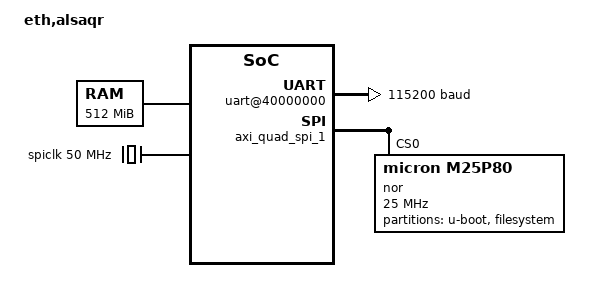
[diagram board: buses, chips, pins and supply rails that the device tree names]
/dts-v1/;
/ {
  #address-cells = <2>;
  #size-cells = <2>;
  compatible = "eth,alsaqr-dev";
  model = "eth,alsaqr";
  config {
    u-boot,spl-payload-offset = <0x6000000>;
  };
  chosen {
    stdout-path = "/soc/uart@40000000:115200";
  };
  memory@80000000 {
    device_type = "memory";
    reg = <0x0 0x80000000 0x0 0x20000000>;
  };
  reserved-memory {
    #address-cells = <2>;
    #size-cells = <2>;
    ranges;
    pulp_mem: buffer@90000000 {
        reg = <0x0 0x90000000 0x0 0x10000000>;
    };
  };
  cpus {
    #address-cells = <1>;
    #size-cells = <0>;
    timebase-frequency = <25000000>;
    CPU0: cpu@0 {
      device_type = "cpu";
      status = "okay";
      compatible = "eth,ariane", "riscv";
      clock-frequency = <50000000>;
      riscv,isa = "rv64fimadch";
      mmu-type = "riscv,sv39";
      tlb-split;
      reg = <0>;
      CPU0_intc: interrupt-controller {
        #interrupt-cells = <1>;
        interrupt-controller;
        compatible = "riscv,cpu-intc";
      };
    };
  };
  soc: soc {
    #address-cells = <2>;
    #size-cells = <2>;
    compatible = "eth,ariane-bare-soc", "simple-bus";
    ranges;
    clint0: clint@2000000 {
      clock-frequency=<25000000>;
      compatible = "riscv,clint0";
      interrupts-extended = <&CPU0_intc 3 &CPU0_intc 7>;
      reg = <0x0 0x2000000 0x0 0xc0000>;
      reg-names = "clint";
    };
    PLIC0: interrupt-controller@c000000 {
      #address-cells = <0>;
      #interrupt-cells = <1>;
      compatible = "sifive,plic-1.0.0","riscv,plic0";
      interrupt-controller;
      interrupts-extended = <&CPU0_intc 11 &CPU0_intc 9>;
      reg = <0x0 0xc000000 0x0 0x4000000>;
      riscv,max-priority = <7>;
      riscv,ndev = <10>;
    };
    uart@40000000 {
      compatible = "ns16550";
      reg = <0x0 0x40000000 0x0 0x1000>;
      clock-frequency = <50000000>;
      current-speed = <115200>;
      interrupt-parent = <&PLIC0>;
      interrupts = <2>;
      reg-shift = <2>; // regs are spaced on 32 bit boundary
      reg-io-width = <4>; // only 32-bit access are supported
    };
    spiclk: virt_100mhz {
      #clock-cells = <0>;
      compatible = "fixed-clock";
      clock-frequency = <50000000>;
    };
    axi_quad_spi_1: spi@20000000 {
      compatible = "xlnx,axi-quad-spi-3.2", "xlnx,xps-spi-2.00.a";
      interrupt-parent = <&PLIC0>;
      interrupts = <1>;
      clocks = <&spiclk>;
      reg = <0x0 0x20000000 0x0 0x10000>;
      xlnx,num-ss-bits = <1>;
      xlnx,num-transfer-bits = <0x8>;
      fifo-size = <16>;
      #address-cells = <1>;
      #size-cells = <0>;
      nor@0 {
        #address-cells = <0x1>;
        #size-cells = <0x1>;
        compatible = "micron,m25p80";
        reg = <0x0 0x0>;
        spi-max-frequency = <25000000>;
        spi-rx-bus-width = <0x4>;
        spi-tx-bus-width = <0x4>;
        m25p,fast-read;
        partition@6000000 {
          label = "u-boot";
          reg = <0x6000000 0x100000>; // 1 MB
          read-only;
        };
        uimage@6100000 {
          label = "uimage";
          reg = <0x6100000 0x1000000>; // 16 MB
          read-only;
        };
        partition@7100000 {
          label = "filesystem";
          reg = <0x7100000 0x8f00000>; // 143 MB
        };
      };
    };
    timer@18000000 {
      compatible = "pulp,apb_timer";
      interrupts = <0x00000004 0x00000005 0x00000006 0x00000007>;
      reg = <0x00000000 0x18000000 0x00000000 0x00001000>;
      interrupt-parent = <&PLIC0>;
      reg-names = "control";
    };
    soc_ctl0: soc-control@1a106000 {
      compatible = "alsaqr,alsaqr-soc-control";
      reg-names = "soc-control";
      reg = <0x0 0x1a106000 0x0 0x4>;
    };
    quadrant_ctrl0: quadrant-control@10400000 {
      compatible = "eth,pulp-cluster";
      reg-names = "quadrant-control";
      reg = <0x0 0x10400000 0x0 0x4000 >;
    };
    pulp-cluster@10000000 {
     compatible = "eth,alsaqr";
     reg-names = "tcdm", "peripheral";
     reg = <0x0 0x10000000 0x0 0x40000> , <0x0 0x10200000 0x0 0x200000>;
     memory-region = <&pulp_mem>;
     eth,compute-cores = <8>;
     eth,dm-cores = <1>;
     eth,cluster-idx =<0>;
     eth,soc-ctl = <&soc_ctl0>;
     eth,quadrant-ctrl = <&quadrant_ctrl0>;
     eth,quadrant-idx = <0>;
     eth,clint = <&clint0>;
     eth,plic = <&PLIC0>;
     };
  };
};
